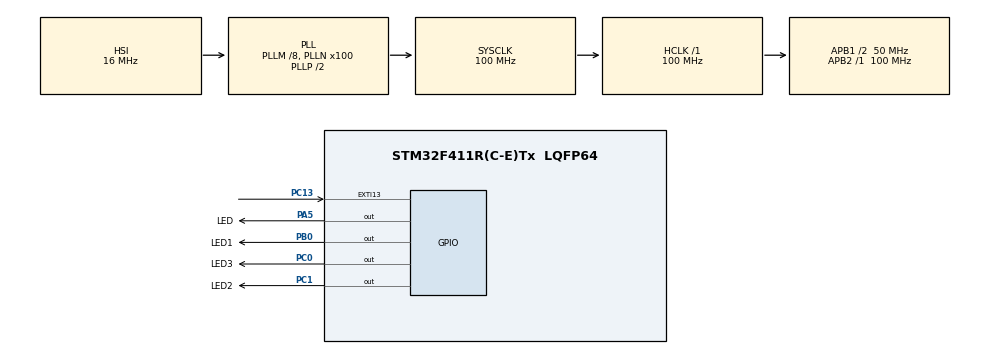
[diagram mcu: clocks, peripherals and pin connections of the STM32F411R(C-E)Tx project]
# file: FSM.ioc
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Mcu.Family=STM32F4
Mcu.Name=STM32F411R(C-E)Tx
Mcu.Package=LQFP64
NVIC.EXTI15_10_IRQn=true\:0\:0\:false\:false\:true\:true\:true\:true
NVIC.PriorityGroup=NVIC_PRIORITYGROUP_4
PA13.Mode=Serial_Wire
PA13.Signal=SYS_JTMS-SWDIO
PA14.Mode=Serial_Wire
PA14.Signal=SYS_JTCK-SWCLK
PA5.GPIO_Label=LED
PA5.GPIO_Speed=GPIO_SPEED_FREQ_HIGH
PA5.PinState=GPIO_PIN_SET
PA5.Signal=GPIO_Output
PB0.GPIO_Label=LED1
PB0.GPIO_Speed=GPIO_SPEED_FREQ_HIGH
PB0.PinState=GPIO_PIN_SET
PB0.Signal=GPIO_Output
PC0.GPIO_Label=LED3
PC0.GPIO_Speed=GPIO_SPEED_FREQ_HIGH
PC0.PinState=GPIO_PIN_SET
PC0.Signal=GPIO_Output
PC1.GPIO_Label=LED2
PC1.GPIO_Speed=GPIO_SPEED_FREQ_HIGH
PC1.PinState=GPIO_PIN_SET
PC1.Signal=GPIO_Output
PC13-ANTI_TAMP.GPIO_ModeDefaultEXTI=GPIO_MODE_IT_FALLING
PC13-ANTI_TAMP.Signal=GPXTI13
PH0\ -\ OSC_IN.Mode=HSE-External-Oscillator
PH0\ -\ OSC_IN.Signal=RCC_OSC_IN
PH1\ -\ OSC_OUT.Mode=HSE-External-Oscillator
PH1\ -\ OSC_OUT.Signal=RCC_OSC_OUT
ProjectManager.HeapSize=0x200
ProjectManager.StackSize=0x400
ProjectManager.TargetToolchain=STM32CubeIDE
RCC.48MHZClocksFreq_Value=50000000
RCC.AHBFreq_Value=100000000
RCC.APB1CLKDivider=RCC_HCLK_DIV2
RCC.APB1Freq_Value=50000000
RCC.APB1TimFreq_Value=100000000
RCC.APB2Freq_Value=100000000
RCC.APB2TimFreq_Value=100000000
RCC.CortexFreq_Value=100000000
RCC.HCLKFreq_Value=100000000
RCC.HSE_VALUE=25000000
RCC.HSI_VALUE=16000000
RCC.LSE_VALUE=32768
RCC.PLLM=8
RCC.PLLN=100
RCC.SYSCLKFreq_VALUE=100000000
RCC.SYSCLKSource=RCC_SYSCLKSOURCE_PLLCLK
RCC.VCOOutputFreq_Value=200000000
board=custom

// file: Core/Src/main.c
/* USER CODE BEGIN Header */
/**
  ******************************************************************************
  * @file           : main.c
  * @brief          : Main program body
  ******************************************************************************
  * @attention
  *
  * Copyright (c) 2023 STMicroelectronics.
  * All rights reserved.
  *
  * This software is licensed under terms that can be found in the LICENSE file
  * in the root directory of this software component.
  * If no LICENSE file comes with this software, it is provided AS-IS.
  *
  ******************************************************************************
  */
/* USER CODE END Header */
#include "main.h"

/* USER CODE BEGIN Includes */
#define READ_PIN_IT ( !HAL_GPIO_ReadPin(GPIOC, GPIO_PIN_13) )

#define TIME_HOLDING 	3000
#define TIME_CLICK   	500
#define TIME_RELAX		300
#define TIME_DEBOUNCE	50

enum {
	IT_Start,
	IT_End
};

typedef enum {
	LED1_2_3_OFF = 0,
	LED1_ON_LED2_3_OFF,
	LED2_ON_LED1_3_OFF,
	LED3_ON_LED1_2_OFF,
} LED_Status_t;

typedef enum {
	BUTTON_PRESS_STATUS,
	BUTTON_CLICK_STATUS,
	BUTTON_ONE_CLICK_STATUS,
	BUTTON_DOUBLE_CLICK_STATUS,
	BUTTON_HOLDING_STATUS,
	BUTTON_NOISE_STATUS,
	BUTTON_OVER_CLICK_STATUS,
	BUTTON_END_STATUS,
} BUTTON_Status_t;

/* USER CODE END Includes */

void SystemClock_Config(void);
static void MX_GPIO_Init(void);

/* USER CODE BEGIN 0 */
#define LED1_ON 	HAL_GPIO_WritePin(GPIOB, LED1_Pin, GPIO_PIN_RESET)
#define LED1_OFF 	HAL_GPIO_WritePin(GPIOB, LED1_Pin, GPIO_PIN_SET)
#define LED2_ON		HAL_GPIO_WritePin(GPIOC, LED2_Pin, GPIO_PIN_RESET)
#define LED2_OFF	HAL_GPIO_WritePin(GPIOC, LED2_Pin, GPIO_PIN_SET)
#define LED3_ON		HAL_GPIO_WritePin(GPIOC, LED3_Pin, GPIO_PIN_RESET)
#define LED3_OFF	HAL_GPIO_WritePin(GPIOC, LED3_Pin, GPIO_PIN_SET)

uint8_t u8button_status = BUTTON_END_STATUS;
uint8_t u8statusIT = IT_End;
uint8_t u8statusLED = LED1_2_3_OFF;
uint8_t u8laststatusLED = LED1_2_3_OFF;

uint8_t u8button_click = 0;
uint8_t u8button_double_click = 0;
uint8_t u8button_hold = 0;
uint32_t u32timeButton = 0;

void LED_Toggle(uint32_t count)
{
	while(count--)
	{
		LED1_ON; LED2_ON; LED3_ON;
		HAL_Delay(100);
		LED1_OFF; LED2_OFF, LED3_OFF;
		HAL_Delay(100);
	}
}

void Set_status_led(void)
{
	switch(u8statusLED)
	{
	  case LED1_2_3_OFF:
	  {
		  LED1_OFF; LED2_OFF, LED3_OFF;
		  break;
	  }
	  case LED1_ON_LED2_3_OFF:
	  {
		  LED1_ON; LED2_OFF; LED3_OFF;
		  break;
	  }
	  case LED2_ON_LED1_3_OFF:
	  {
		  LED2_ON; LED1_OFF; LED3_OFF;
		  break;
	  }
	  case LED3_ON_LED1_2_OFF:
	  {
		  LED3_ON; LED1_OFF; LED2_OFF;
		  break;
	  }
	}
}
/* USER CODE END 0 */

int main(void)
{

  /* MCU Configuration--------------------------------------------------------*/

  /* Reset of all peripherals, Initializes the Flash interface and the Systick. */
  HAL_Init();

  /* Configure the system clock */
  SystemClock_Config();

  /* Initialize all configured peripherals */
  MX_GPIO_Init();

  /* Infinite loop */
  while (1)
  {

    /* USER CODE BEGIN 3 */
	while( u8statusIT == IT_Start )
	{
		switch(u8button_status)
		{
			case BUTTON_PRESS_STATUS:
			{
				uwTick = 0;
				while( HAL_GetTick() < TIME_DEBOUNCE )
				{
					HAL_Delay(1);
					if( !READ_PIN_IT )
					{
						u8button_status = BUTTON_NOISE_STATUS;
						break;
					}
				}
				u8button_status = BUTTON_CLICK_STATUS;
				break;
			}
			case BUTTON_CLICK_STATUS:
			{
				uwTick = 0;
				while( READ_PIN_IT )
				{
					HAL_Delay(1);
					if( HAL_GetTick() > TIME_HOLDING )
					{
						u8button_status = BUTTON_HOLDING_STATUS;
						break;
					}
				}
				if( !READ_PIN_IT && HAL_GetTick() < TIME_CLICK )
				{
					u8button_status = BUTTON_ONE_CLICK_STATUS;
					break;
				}
				if( !READ_PIN_IT && HAL_GetTick() > TIME_CLICK && HAL_GetTick() < TIME_HOLDING )
				{
					u8button_status = BUTTON_NOISE_STATUS;
					break;
				}
				break;
			}
			case BUTTON_ONE_CLICK_STATUS:
			{
				uwTick = 0;
				while( !READ_PIN_IT )
				{
					HAL_Delay(1);
					if( HAL_GetTick() > TIME_RELAX )
					{
						u8button_click = 1;
						u8button_status = BUTTON_END_STATUS;
						break;
					}
				}
				if( READ_PIN_IT && HAL_GetTick() < TIME_RELAX )
				{
					u8button_status = BUTTON_DOUBLE_CLICK_STATUS;
					break;
				}
				break;
			}
			case BUTTON_DOUBLE_CLICK_STATUS:
			{
				uwTick = 0;
				while( READ_PIN_IT )
				{
					HAL_Delay(1);
					if( HAL_GetTick() > TIME_CLICK )
					{
						u8button_status = BUTTON_NOISE_STATUS;
						break;
					}
				}
				if( !READ_PIN_IT && HAL_GetTick() < TIME_CLICK )
				{
					u8button_status = BUTTON_OVER_CLICK_STATUS;
					break;
				}
				break;
			}
			case BUTTON_HOLDING_STATUS:
			{
				u8button_hold = 1;
				u8button_status = BUTTON_END_STATUS;
				break;
			}
			case BUTTON_NOISE_STATUS:
			{
				u8statusIT = IT_End;
				u8button_click = u8button_double_click = u8button_hold = 0;
				break;
			}
			case BUTTON_OVER_CLICK_STATUS:
			{
				uwTick = 0;
				while( !READ_PIN_IT )
				{
					HAL_Delay(1);
					if( HAL_GetTick() > 300 )
					{
						u8button_double_click = 1;
						u8button_status = BUTTON_END_STATUS;
						break;
					}
				}
				if( READ_PIN_IT && HAL_GetTick() < 500 )
				{
					u8button_status = BUTTON_NOISE_STATUS;
					break;
				}
				break;
			}
			case BUTTON_END_STATUS:
			{
				if( u8button_hold )
				{
					if( u8laststatusLED ==  LED1_2_3_OFF )
					{
						u8statusLED = LED1_ON_LED2_3_OFF;
						u8laststatusLED = u8statusLED;
						u8button_hold = 0;
					}
					else
					{
						u8statusLED = LED1_2_3_OFF;
						u8laststatusLED = u8statusLED;
						u8button_hold = 0;
					}
					Set_status_led();
					while( READ_PIN_IT )
					{
						HAL_Delay(1);
					}
				}
				else if( u8button_click && u8laststatusLED !=  LED1_2_3_OFF)
				{
					u8statusLED++;
					if( u8statusLED > 3)
					  u8statusLED = LED1_ON_LED2_3_OFF;
					u8button_click = 0;
					Set_status_led();
				}
				else if( u8button_double_click )
				{
					LED_Toggle(5);
					u8button_double_click = 0;
					Set_status_led();
				}
				u8statusIT = IT_End;
				break;
			}
		}
	}
  }
  /* USER CODE END 3 */
}

void SystemClock_Config(void)
{
  RCC_OscInitTypeDef RCC_OscInitStruct = {0};
  RCC_ClkInitTypeDef RCC_ClkInitStruct = {0};

  /** Configure the main internal regulator output voltage
  */
  __HAL_RCC_PWR_CLK_ENABLE();
  __HAL_PWR_VOLTAGESCALING_CONFIG(PWR_REGULATOR_VOLTAGE_SCALE1);

  /** Initializes the RCC Oscillators according to the specified parameters
  * in the RCC_OscInitTypeDef structure.
  */
  RCC_OscInitStruct.OscillatorType = RCC_OSCILLATORTYPE_HSI;
  RCC_OscInitStruct.HSIState = RCC_HSI_ON;
  RCC_OscInitStruct.HSICalibrationValue = RCC_HSICALIBRATION_DEFAULT;
  RCC_OscInitStruct.PLL.PLLState = RCC_PLL_ON;
  RCC_OscInitStruct.PLL.PLLSource = RCC_PLLSOURCE_HSI;
  RCC_OscInitStruct.PLL.PLLM = 8;
  RCC_OscInitStruct.PLL.PLLN = 100;
  RCC_OscInitStruct.PLL.PLLP = RCC_PLLP_DIV2;
  RCC_OscInitStruct.PLL.PLLQ = 4;
  if (HAL_RCC_OscConfig(&RCC_OscInitStruct) != HAL_OK)
  {
    Error_Handler();
  }

  /** Initializes the CPU, AHB and APB buses clocks
  */
  RCC_ClkInitStruct.ClockType = RCC_CLOCKTYPE_HCLK|RCC_CLOCKTYPE_SYSCLK
                              |RCC_CLOCKTYPE_PCLK1|RCC_CLOCKTYPE_PCLK2;
  RCC_ClkInitStruct.SYSCLKSource = RCC_SYSCLKSOURCE_PLLCLK;
  RCC_ClkInitStruct.AHBCLKDivider = RCC_SYSCLK_DIV1;
  RCC_ClkInitStruct.APB1CLKDivider = RCC_HCLK_DIV2;
  RCC_ClkInitStruct.APB2CLKDivider = RCC_HCLK_DIV1;

  if (HAL_RCC_ClockConfig(&RCC_ClkInitStruct, FLASH_LATENCY_3) != HAL_OK)
  {
    Error_Handler();
  }
}

static void MX_GPIO_Init(void)
{
  GPIO_InitTypeDef GPIO_InitStruct = {0};

  /* GPIO Ports Clock Enable */
  __HAL_RCC_GPIOC_CLK_ENABLE();
  __HAL_RCC_GPIOH_CLK_ENABLE();
  __HAL_RCC_GPIOA_CLK_ENABLE();
  __HAL_RCC_GPIOB_CLK_ENABLE();

  /*Configure GPIO pin Output Level */
  HAL_GPIO_WritePin(GPIOC, LED3_Pin|LED2_Pin, GPIO_PIN_SET);

  /*Configure GPIO pin Output Level */
  HAL_GPIO_WritePin(LED_GPIO_Port, LED_Pin, GPIO_PIN_SET);

  /*Configure GPIO pin Output Level */
  HAL_GPIO_WritePin(LED1_GPIO_Port, LED1_Pin, GPIO_PIN_SET);

  /*Configure GPIO pin : PC13 */
  GPIO_InitStruct.Pin = GPIO_PIN_13;
  GPIO_InitStruct.Mode = GPIO_MODE_IT_FALLING;
  GPIO_InitStruct.Pull = GPIO_NOPULL;
  HAL_GPIO_Init(GPIOC, &GPIO_InitStruct);

  /*Configure GPIO pins : LED3_Pin LED2_Pin */
  GPIO_InitStruct.Pin = LED3_Pin|LED2_Pin;
  GPIO_InitStruct.Mode = GPIO_MODE_OUTPUT_PP;
  GPIO_InitStruct.Pull = GPIO_NOPULL;
  GPIO_InitStruct.Speed = GPIO_SPEED_FREQ_HIGH;
  HAL_GPIO_Init(GPIOC, &GPIO_InitStruct);

  /*Configure GPIO pin : LED_Pin */
  GPIO_InitStruct.Pin = LED_Pin;
  GPIO_InitStruct.Mode = GPIO_MODE_OUTPUT_PP;
  GPIO_InitStruct.Pull = GPIO_NOPULL;
  GPIO_InitStruct.Speed = GPIO_SPEED_FREQ_HIGH;
  HAL_GPIO_Init(LED_GPIO_Port, &GPIO_InitStruct);

  /*Configure GPIO pin : LED1_Pin */
  GPIO_InitStruct.Pin = LED1_Pin;
  GPIO_InitStruct.Mode = GPIO_MODE_OUTPUT_PP;
  GPIO_InitStruct.Pull = GPIO_NOPULL;
  GPIO_InitStruct.Speed = GPIO_SPEED_FREQ_HIGH;
  HAL_GPIO_Init(LED1_GPIO_Port, &GPIO_InitStruct);

  /* EXTI interrupt init*/
  HAL_NVIC_SetPriority(EXTI15_10_IRQn, 0, 0);
  HAL_NVIC_EnableIRQ(EXTI15_10_IRQn);

}

/* USER CODE BEGIN 4 */

void HAL_GPIO_EXTI_Callback(uint16_t GPIO_Pin)
{
  if(GPIO_Pin == GPIO_PIN_13 )
  {
	  u8statusIT = IT_Start;
	  u8button_status = BUTTON_PRESS_STATUS;
  }
  else
  {
      __NOP();
  }
}

/* USER CODE END 4 */

void Error_Handler(void)
{
  __disable_irq();
  while (1)
  {
  }
}
